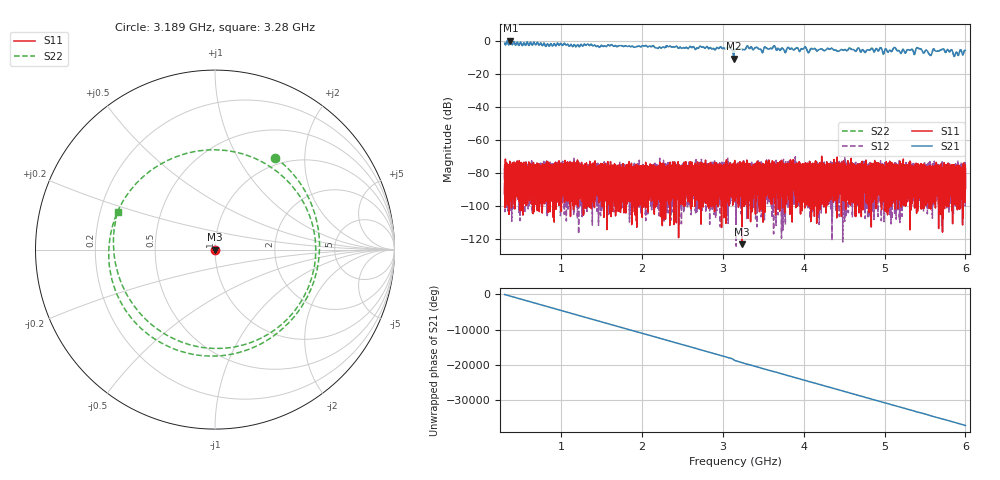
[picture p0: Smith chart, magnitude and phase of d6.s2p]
!Agilent Technologies,N5230C,SG49000117,A.08.50.07
!Agilent N5230C: A.08.50.07
!Date: Sunday, March 17, 2024 02:58:11
!Correction: S11(Off)
!S21(Off)
!S12(Off)
!S22(Off)
!S2P File: Measurements: S11, S21, S12, S22:
# Hz S  RI  R 50
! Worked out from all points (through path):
!   20001 points, 300 MHz to 6 GHz, reference 50 ohm
!   highest |S21| = 0.39 dB at 372.7 MHz (marker M1); lowest = -10.6 dB at 3.133 GHz (marker M2)
!   lowest |S11| = -123.3 dB at 3.235 GHz (marker M3), VSWR 1.00, Z = 50 - j6.7e-05 ohm
!   |S11| at or under -10 dB: start of sweep to end of sweep
!   |S22| runs from -10.5 to 0.4 dB; largest |S21 - S12| = 1
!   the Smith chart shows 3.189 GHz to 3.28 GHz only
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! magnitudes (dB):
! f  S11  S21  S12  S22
! 300 MHz  -89.2  -1.1  -83.2  -1.1
! 372.7 MHz  -89.1  0.4  -84.0  0.4
! 1.25 GHz  -80.6  -2.0  -82.4  -2.0
! 2.2 GHz  -95.0  -4.3  -82.3  -4.3
! 3.069 GHz  -82.0  -3.9  -87.3  -3.9
! 3.133 GHz  -79.1  -10.6  -83.8  -10.5
! 3.15 GHz  -81.4  -4.8  -75.8  -4.8
! 3.235 GHz  -123.3  -5.1  -84.9  -5.0
! 3.322 GHz  -81.6  -4.3  -84.4  -4.3
! 3.475 GHz  -86.0  -5.4  -90.1  -5.4
! 3.624 GHz  -82.5  -3.4  -78.8  -3.3
! 4.1 GHz  -77.3  -4.5  -83.1  -4.4
! 5.05 GHz  -85.1  -6.2  -80.7  -6.2
! 5.124 GHz  -86.8  -3.8  -89.8  -3.8
! 5.186 GHz  -81.3  -6.2  -86.3  -6.2
! 5.359 GHz  -83.9  -7.0  -75.0  -7.0
! 5.419 GHz  -83.7  -4.4  -78.7  -4.4
! 5.561 GHz  -84.2  -8.3  -73.1  -8.3
! 5.615 GHz  -87.8  -5.1  -87.2  -5.2
! 5.712 GHz  -79.7  -5.0  -82.7  -5.0
! 5.884 GHz  -78.9  -6.9  -93.9  -6.9
! 6 GHz  -80.6  -5.6  -77.2  -5.6
